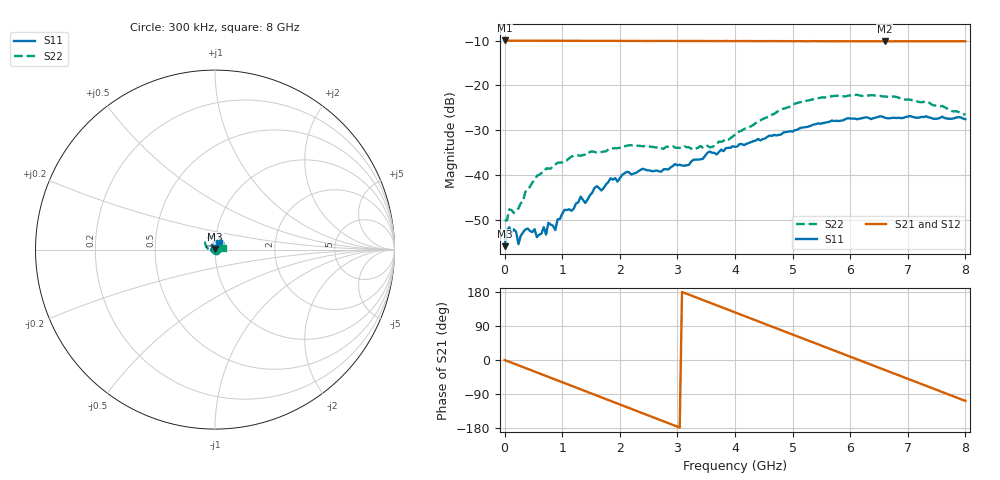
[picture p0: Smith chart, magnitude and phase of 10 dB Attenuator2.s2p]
#  HZ  S  DB  R  50.00
! Rohde & Schwarz Vector Network Analyzer
! Rohde-Schwarz,ZNB8-4Port,1311601044101761,1.95
! Created: UTC 2/19/2014, 8:14:20 PM
! freq[Hz]  db:S11  ang:S11  db:S21  ang:S21  db:S12  ang:S12  db:S22  ang:S22
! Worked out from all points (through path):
!   201 points, 300 kHz to 8 GHz, reference 50 ohm
!   highest |S21| = -9.97 dB at 300 kHz (marker M1); lowest = -10.2 dB at 6.6 GHz (marker M2)
!   group delay of S21, straight-line fit = 162 ps
!   lowest |S11| = -56.0 dB at 300 kHz (marker M3), VSWR 1.00, Z = 50 + j0.159 ohm
!   |S11| at or under -10 dB: start of sweep to end of sweep
!   |S22| runs from -50.2 to -22.1 dB; largest |S21 - S12| = 0.0016
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300000  -55.96 87.9  -9.97 -0.3  -9.96 -0.3  -50.14 7.4
4.02985e7  -52.50 -156.6  -10.00 -2.3  -10.01 -2.3  -50.23 3.8
8.0297e7  -51.74 -162.5  -10.01 -4.6  -10.01 -4.7  -47.72 -14.1
2.002925e8  -52.77 -178.9  -10.03 -11.7  -10.03 -11.7  -48.02 -52.1
2.40291e8  -55.52 177.9  -10.02 -14.2  -10.02 -14.1  -47.51 -68.9
4.00285e8  -52.00 168.7  -10.03 -23.5  -10.02 -23.6  -43.40 -95.8
5.60279e8  -53.93 -178.9  -10.04 -33.0  -10.03 -32.9  -40.24 -110.9
6.802745e8  -51.69 -172.5  -10.03 -40.0  -10.04 -40.0  -39.45 -122.0
7.20273e8  -53.37 -166.3  -10.04 -42.3  -10.03 -42.4  -38.60 -123.6
7.602715e8  -50.74 -163.7  -10.04 -44.7  -10.05 -44.7  -38.59 -127.2
8.80267e8  -52.35 -155.2  -10.03 -51.7  -10.04 -51.7  -37.73 -133.5
1.040261e9  -47.84 -164.5  -10.05 -61.1  -10.05 -61.1  -36.86 -140.3
1.360249e9  -45.58 -176.0  -10.06 -79.9  -10.05 -79.8  -35.58 -145.3
2.12022e9  -39.33 151.3  -10.07 -124.3  -10.08 -124.3  -33.50 -159.5
2.6802e9  -39.22 133.8  -10.08 -157.0  -10.09 -157.0  -34.18 -169.5
3.600165e9  -35.06 144.1  -10.10 149.1  -10.08 149.2  -33.79 -177.6
4.00015e9  -33.75 138.1  -10.11 125.7  -10.10 125.8  -31.05 178.8
4.680124e9  -31.07 130.2  -10.11 85.9  -10.13 85.8  -26.40 163.1
5.360099e9  -28.77 111.2  -10.13 46.2  -10.13 46.1  -23.12 138.7
6.600052e9  -27.24 75.5  -10.17 -26.3  -10.15 -26.2  -22.49 91.6
6.68005e9  -27.37 71.6  -10.16 -30.9  -10.16 -30.9  -22.51 87.4
8e9  -27.58 54.5  -10.16 -108.0  -10.17 -108.2  -26.52 9.6
